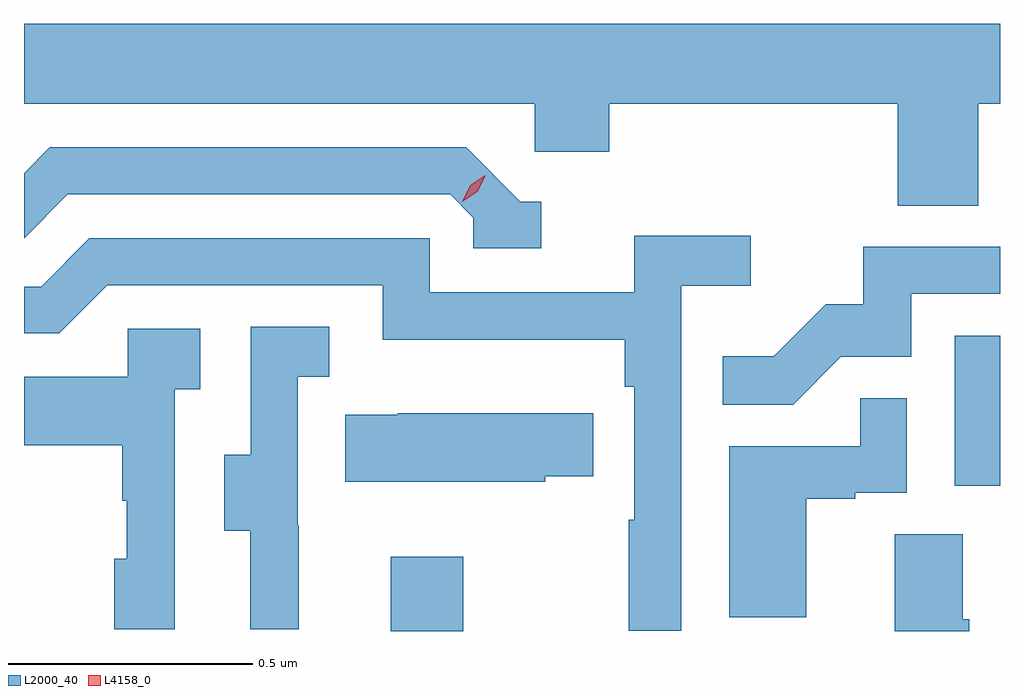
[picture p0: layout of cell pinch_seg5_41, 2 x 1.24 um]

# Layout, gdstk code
import gdstk
lib = gdstk.Library(unit=1e-6, precision=1e-09)
def R(c, l, rs):  # rectangles x0, y0, x1, y1
    for r in rs: c.add(gdstk.rectangle(r[:2], r[2:], *l))
def P(c, l, *ps):  # polygons
    for p in ps: c.add(gdstk.Polygon(p, *l))
L2000_40 = (2000, 40)
L4158_0 = (4158, 0)

pinch_seg5_41 = lib.new_cell('pinch_seg5_41')
R(pinch_seg5_41, L2000_40, [(1093.721,907.628,1093.869,907.78), (1094.876,907.926,1094.969,908.233)])
P(pinch_seg5_41, L2000_40, [(1094.924,908.708),(1094.969,908.708),(1094.969,908.872),(1092.969,908.872),(1092.969,908.708),(1094.016,908.708),(1094.016,908.61),(1094.168,908.61),(1094.168,908.708),(1094.759,908.708),(1094.759,908.5),(1094.924,908.5)],
  [(1094.029,908.508),(1093.986,908.508),(1093.875,908.619),(1093.022,908.619),(1092.969,908.566),(1092.969,908.433),(1093.059,908.523),(1093.842,908.523),(1093.89,908.475),(1093.89,908.412),(1094.029,908.412)],
  [(1094.316,908.336),(1094.458,908.336),(1094.458,908.438),(1094.219,908.438),(1094.219,908.322),(1093.8,908.322),(1093.8,908.433),(1093.103,908.433),(1093.004,908.334),(1092.969,908.334),(1092.969,908.238),(1093.041,908.238),(1093.14,908.337),(1093.704,908.337),(1093.704,908.225),(1094.2,908.225),(1094.2,908.129),(1094.22,908.129),(1094.22,907.856),(1094.208,907.856),(1094.208,907.629),(1094.316,907.629)],
  [(1094.643,908.19),(1094.787,908.19),(1094.787,908.319),(1094.969,908.319),(1094.969,908.415),(1094.689,908.415),(1094.689,908.298),(1094.612,908.298),(1094.505,908.191),(1094.401,908.191),(1094.401,908.092),(1094.545,908.092)],
  [(1093.532,907.845),(1093.53,907.845),(1093.53,908.149),(1093.594,908.149),(1093.594,908.252),(1093.434,908.252),(1093.434,907.989),(1093.379,907.989),(1093.379,907.834),(1093.433,907.834),(1093.433,907.632),(1093.532,907.632)],
  [(1093.278,908.123),(1093.33,908.123),(1093.33,908.247),(1093.182,908.247),(1093.182,908.149),(1092.969,908.149),(1092.969,908.009),(1093.17,908.009),(1093.17,907.895),(1093.18,907.895),(1093.18,907.776),(1093.154,907.776),(1093.154,907.632),(1093.278,907.632)],
  [(1094.572,907.899),(1094.672,907.899),(1094.672,907.911),(1094.778,907.911),(1094.778,908.105),(1094.683,908.105),(1094.683,908.007),(1094.414,908.007),(1094.414,907.656),(1094.572,907.656)],
  [(1094.037,907.945),(1094.135,907.945),(1094.135,908.074),(1093.735,908.074),(1093.735,908.071),(1093.627,908.071),(1093.627,907.934),(1094.037,907.934)],
  [(1094.906,907.652),(1094.893,907.652),(1094.893,907.826),(1094.753,907.826),(1094.753,907.628),(1094.906,907.628)])
P(pinch_seg5_41, L4158_0, [(1093.867,908.508),(1093.867,908.509),(1093.883,908.541),(1093.913,908.561),(1093.914,908.561),(1093.914,908.56),(1093.898,908.528),(1093.867,908.508)])

lib.write_gds('pinch_seg5_41.gds')
